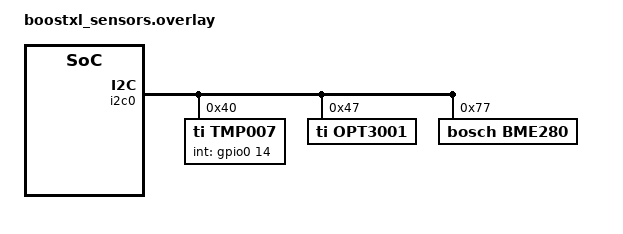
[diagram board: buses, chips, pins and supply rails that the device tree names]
/*
 * Copyright (c) 2019 Brett Witherspoon
 *
 * SPDX-License-Identifier: Apache-2.0
 */

&i2c0 {

	tmp007@40 {
		compatible = "ti,tmp007";
		reg = <0x40>;
		int-gpios = <&gpio0 14 0>;
		label = "TMP007";
	};

	opt3001@47 {
		compatible = "ti,opt3001";
		reg = <0x47>;
		label = "OPT3001";
	};

	bme280@77 {
		compatible = "bosch,bme280";
		reg = <0x77>;
		label = "BME280";
	};

};
